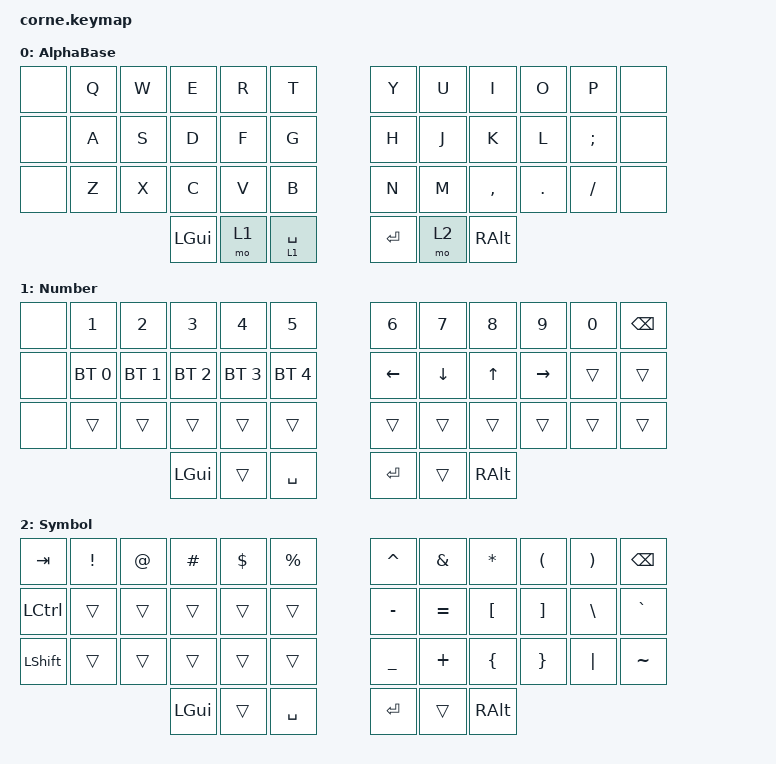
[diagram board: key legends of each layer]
/*
 * Copyright (c) 2020 The ZMK Contributors
 *
 * SPDX-License-Identifier: MIT
 */

#include <behaviors.dtsi>
#include <dt-bindings/zmk/bt.h>
#include <dt-bindings/zmk/keys.h>

/ {
    combos {
        compatible = "zmk,combos";

        BTClrAll {
            bindings = <&bt BT_CLR_ALL>;
            key-positions = <11 0>;
            timeout-ms = <200>;
            layers = <0 1 2>;
        };
    };

    behaviors {
        NumberPeek: NumberPeek {
            compatible = "zmk,behavior-hold-tap";
            label = "NUMBERPEEK";
            bindings = <&mo>, <&kp>;

            #binding-cells = <2>;
            flavor = "balanced";
            tapping-term-ms = <250>;
            hold-trigger-key-positions = <38>;
            retro-tap;
            hold-while-undecided;
            hold-while-undecided-linger;
        };

        SymbolPeek: SymbolPeek {
            compatible = "zmk,behavior-hold-tap";
            label = "SYMBOLPEEK";
            bindings = <&mo>, <&kp>;

            #binding-cells = <2>;
            flavor = "balanced";
            tapping-term-ms = <250>;
            retro-tap;
            hold-while-undecided;
            hold-while-undecided-linger;
            hold-trigger-key-positions = <39>;
        };
    };

    keymap {
        compatible = "zmk,keymap";

        AlphaBase {
            // -----------------------------------------------------------------------------------------
            // |  TAB |  Q  |  W  |  E  |  R  |  T  |   |  Y  |  U   |  I  |  O  |  P  | BKSP |
            // | CTRL |  A  |  S  |  D  |  F  |  G  |   |  H  |  J   |  K  |  L  |  ;  |  '   |
            // | SHFT |  Z  |  X  |  C  |  V  |  B  |   |  N  |  M   |  ,  |  .  |  /  | ESC  |
            //                    | GUI | LWR | SPC |   | ENT | RSE  | ALT |

            bindings = <
&none  &kp Q  &kp W  &kp E     &kp R  &kp T                  &kp Y    &kp U  &kp I      &kp O    &kp P     &none
&none  &kp A  &kp S  &kp D     &kp F  &kp G                  &kp H    &kp J  &kp K      &kp L    &kp SEMI  &none
&none  &kp Z  &kp X  &kp C     &kp V  &kp B                  &kp N    &kp M  &kp COMMA  &kp DOT  &kp FSLH  &none
                     &kp LGUI  &mo 1  &NumberPeek 1 SPACE    &kp RET  &mo 2  &kp RALT
            >;
        };

        Number {
            // -----------------------------------------------------------------------------------------
            // |  TAB |  1  |  2  |  3  |  4  |  5  |   |  6  |  7  |  8  |  9  |  0  | BKSP |
            // | BTCLR| BT1 | BT2 | BT3 | BT4 | BT5 |   | LFT | DWN |  UP | RGT |     |      |
            // | SHFT |     |     |     |     |     |   |     |     |     |     |     |      |
            //                    | GUI |     | SPC |   | ENT |     | ALT |

            bindings = <
&none  &kp N1        &kp N2        &kp N3        &kp N4        &kp N5          &kp N6    &kp N7    &kp N8    &kp N9     &kp N0  &kp BSPC
&none  &bt BT_SEL 0  &bt BT_SEL 1  &bt BT_SEL 2  &bt BT_SEL 3  &bt BT_SEL 4    &kp LEFT  &kp DOWN  &kp UP    &kp RIGHT  &trans  &trans
&none  &trans        &trans        &trans        &trans        &trans          &trans    &trans    &trans    &trans     &trans  &trans
                                   &kp LGUI      &trans        &kp SPACE       &kp RET   &trans    &kp RALT
            >;
        };

        Symbol {
            // -----------------------------------------------------------------------------------------
            // |  TAB |  !  |  @  |  #  |  $  |  %  |   |  ^  |  &  |  *  |  (  |  )  | BKSP |
            // | CTRL |     |     |     |     |     |   |  -  |  =  |  [  |  ]  |  \  |  `   |
            // | SHFT |     |     |     |     |     |   |  _  |  +  |  {  |  }  | "|" |  ~   |
            //                    | GUI |     | SPC |   | ENT |     | ALT |

            bindings = <
&kp TAB    &kp EXCL  &kp AT  &kp HASH  &kp DLLR  &kp PRCNT    &kp CARET  &kp AMPS   &kp ASTRK  &kp LPAR  &kp RPAR  &kp BSPC
&kp LCTRL  &trans    &trans  &trans    &trans    &trans       &kp MINUS  &kp EQUAL  &kp LBKT   &kp RBKT  &kp BSLH  &kp GRAVE
&kp LSHFT  &trans    &trans  &trans    &trans    &trans       &kp UNDER  &kp PLUS   &kp LBRC   &kp RBRC  &kp PIPE  &kp TILDE
                             &kp LGUI  &trans    &kp SPACE    &kp RET    &trans     &kp RALT
            >;
        };
    };
};
